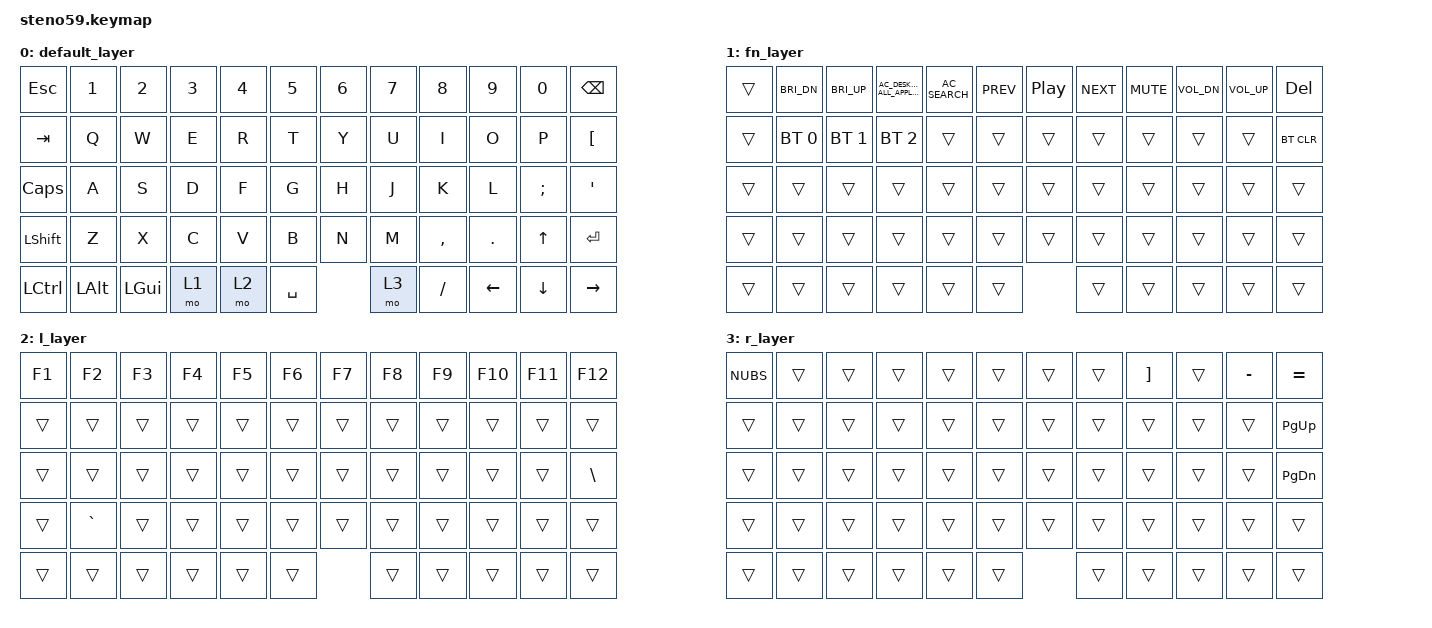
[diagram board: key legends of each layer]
/*
 * Copyright (c) 2020 The ZMK Contributors
 *
 * SPDX-License-Identifier: MIT
 */

#include <behaviors.dtsi>
#include <dt-bindings/zmk/keys.h>
#include <dt-bindings/zmk/bt.h>
#include <dt-bindings/zmk/outputs.h>

/ {
    keymap {
        compatible = "zmk,keymap";

        default_layer {

            // ----------------------------------------------------------------------------------------------------------
            // |  ESC   |  1    |  2    |  3    |  4    |  5    |   6   |  7    |  8   |  9   |   0   | BSPC  |
            // |  TAB   |  Q    |  W    |  E    |  R    |  T    |   Y   |  U    |  I   |  O   |   P   |  Å    |
            // | CAPS   |  A    |  S    |  D    |  F    |  G    |   H   |  J    |  K   |  L   |   U_Ö |  Ä    |
            // | SHIFT  |  Z    |  X    |  C    |  V    |  B    |   N   |  M    |  ,   |  .   | UARW  | ENTER |
            // | CTRL   | LALT  |  CMD  | FN    |   LWR |     SPACE     | RIGHT |  -   | LARW | DAWR  | RWARW |

            bindings = <
                &kp ESC    &kp N1     &kp N2    &kp N3    &kp N4   &kp N5   &kp N6   &kp N7  &kp N8      &kp N9      &kp N0      &kp BSPC
                &kp TAB    &kp Q      &kp W     &kp E     &kp R    &kp T    &kp Y    &kp U   &kp I       &kp O       &kp P       &kp LBKT
                &kp CAPS   &kp A      &kp S     &kp D     &kp F    &kp G    &kp H    &kp J   &kp K       &kp L       &kp SEMI    &kp SQT
                &kp LSHFT  &kp Z      &kp X     &kp C     &kp V    &kp B    &kp N    &kp M   &kp COMMA   &kp DOT     &kp UP      &kp RET
                &kp LCTRL  &kp LALT   &kp LGUI   &mo 1    &mo 2       &kp SPACE      &mo 3   &kp FSLH    &kp LEFT    &kp DOWN    &kp RIGHT
            >;
        };

        fn_layer {
            bindings = <
                &trans       &kp C_BRI_DN    &kp C_BRI_UP   &kp C_AC_DESKTOP_SHOW_ALL_APPLICATIONS  &kp C_AC_SEARCH  &kp C_PREV   &kp C_PP   &kp C_NEXT   &kp C_MUTE   &kp C_VOL_DN   &kp C_VOL_UP  &kp DEL
                &trans       &bt BT_SEL 0    &bt BT_SEL 1   &bt BT_SEL 2                            &trans           &trans       &trans     &trans       &trans       &trans         &trans        &bt BT_CLR
                &trans       &trans          &trans         &trans                                  &trans           &trans       &trans     &trans       &trans       &trans         &trans        &trans
                &trans       &trans          &trans         &trans                                  &trans           &trans       &trans     &trans       &trans       &trans         &trans        &trans
                &trans       &trans          &trans         &trans                                  &trans                &trans             &trans       &trans       &trans         &trans        &trans
            >;
        };

        l_layer {
            bindings = <
                &kp F1    &kp F2       &kp F3   &kp F4   &kp F5   &kp F6   &kp F7   &kp F8   &kp F9   &kp F10  &kp F11  &kp F12
                &trans    &trans       &trans   &trans   &trans   &trans   &trans   &trans   &trans   &trans   &trans   &trans
                &trans    &trans       &trans   &trans   &trans   &trans   &trans   &trans   &trans   &trans   &trans   &kp BSLH
                &trans    &kp GRAVE    &trans   &trans   &trans   &trans   &trans   &trans   &trans   &trans   &trans   &trans
                &trans    &trans       &trans   &trans   &trans      &trans         &trans   &trans   &trans   &trans   &trans
            >;
        };

        r_layer {
             bindings = <
                &kp NUBS    &trans   &trans   &trans   &trans   &trans   &trans   &trans   &kp RBKT   &trans   &kp MINUS   &kp EQUAL
                &trans      &trans   &trans   &trans   &trans   &trans   &trans   &trans   &trans     &trans   &trans      &kp PG_UP
                &trans      &trans   &trans   &trans   &trans   &trans   &trans   &trans   &trans     &trans   &trans      &kp PG_DN
                &trans      &trans   &trans   &trans   &trans   &trans   &trans   &trans   &trans     &trans   &trans      &trans
                &trans      &trans   &trans   &trans   &trans      &trans         &trans   &trans     &trans   &trans      &trans
            >;
        };
    };
};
